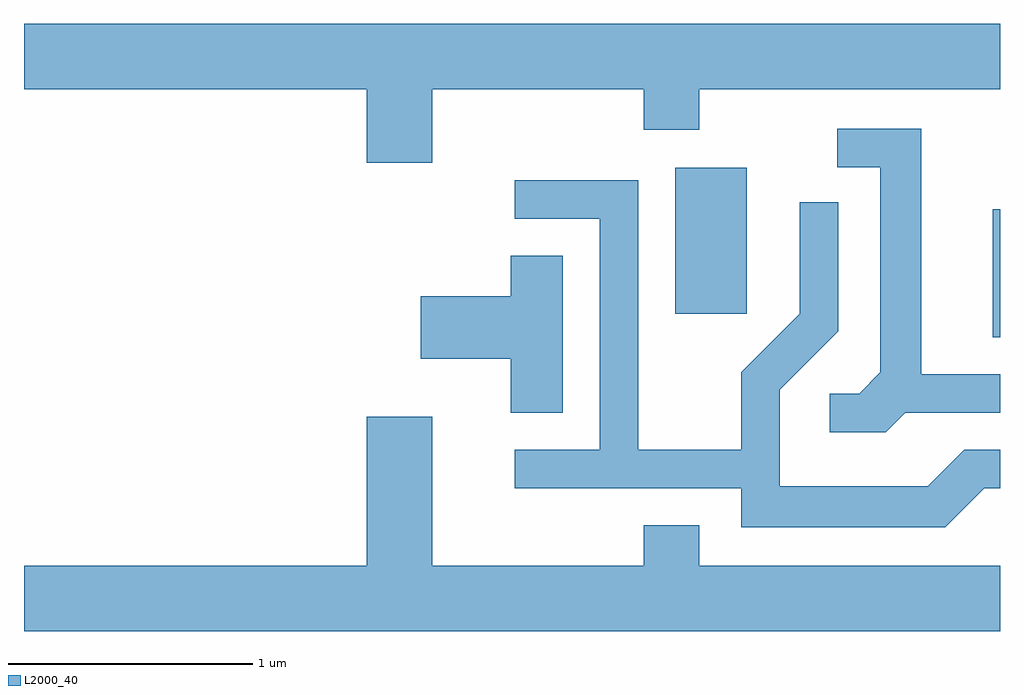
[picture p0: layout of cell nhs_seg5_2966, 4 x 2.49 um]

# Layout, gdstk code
import gdstk
lib = gdstk.Library(unit=1e-6, precision=1e-09)
def R(c, l, rs):  # rectangles x0, y0, x1, y1
    for r in rs: c.add(gdstk.rectangle(r[:2], r[2:], *l))
def P(c, l, *ps):  # polygons
    for p in ps: c.add(gdstk.Polygon(p, *l))
L2000_40 = (2000, 40)

nhs_seg5_2966 = lib.new_cell('nhs_seg5_2966')
R(nhs_seg5_2966, L2000_40, [(277.581,1435.801,277.611,1436.324), (276.281,1435.896,276.574,1436.494)])
P(nhs_seg5_2966, L2000_40, [(275.284,1436.816),(276.151,1436.816),(276.151,1436.651),(276.379,1436.651),(276.379,1436.816),(277.611,1436.816),(277.611,1437.084),(273.611,1437.084),(273.611,1436.816),(275.016,1436.816),(275.016,1436.516),(275.284,1436.516)],
  [(277.222,1435.491),(277.611,1435.491),(277.611,1435.649),(277.289,1435.649),(277.289,1436.654),(276.943,1436.654),(276.943,1436.496),(277.121,1436.496),(277.121,1435.657),(277.034,1435.569),(276.913,1435.569),(276.913,1435.411),(277.142,1435.411)],
  [(277.547,1435.181),(277.611,1435.181),(277.611,1435.339),(277.464,1435.339),(277.314,1435.189),(276.709,1435.189),(276.709,1435.584),(276.949,1435.824),(276.949,1436.353),(276.791,1436.353),(276.791,1435.897),(276.551,1435.657),(276.551,1435.339),(276.129,1435.339),(276.129,1436.444),(275.623,1436.444),(275.623,1436.286),(275.971,1436.286),(275.971,1435.339),(275.623,1435.339),(275.623,1435.181),(276.551,1435.181),(276.551,1435.021),(277.387,1435.021)],
  [(275.819,1436.134),(275.606,1436.134),(275.606,1435.969),(275.236,1435.969),(275.236,1435.711),(275.606,1435.711),(275.606,1435.491),(275.819,1435.491)],
  [(277.611,1434.864),(276.379,1434.864),(276.379,1435.029),(276.151,1435.029),(276.151,1434.864),(275.284,1434.864),(275.284,1435.474),(275.016,1435.474),(275.016,1434.864),(273.611,1434.864),(273.611,1434.596),(277.611,1434.596)])

lib.write_gds('nhs_seg5_2966.gds')
